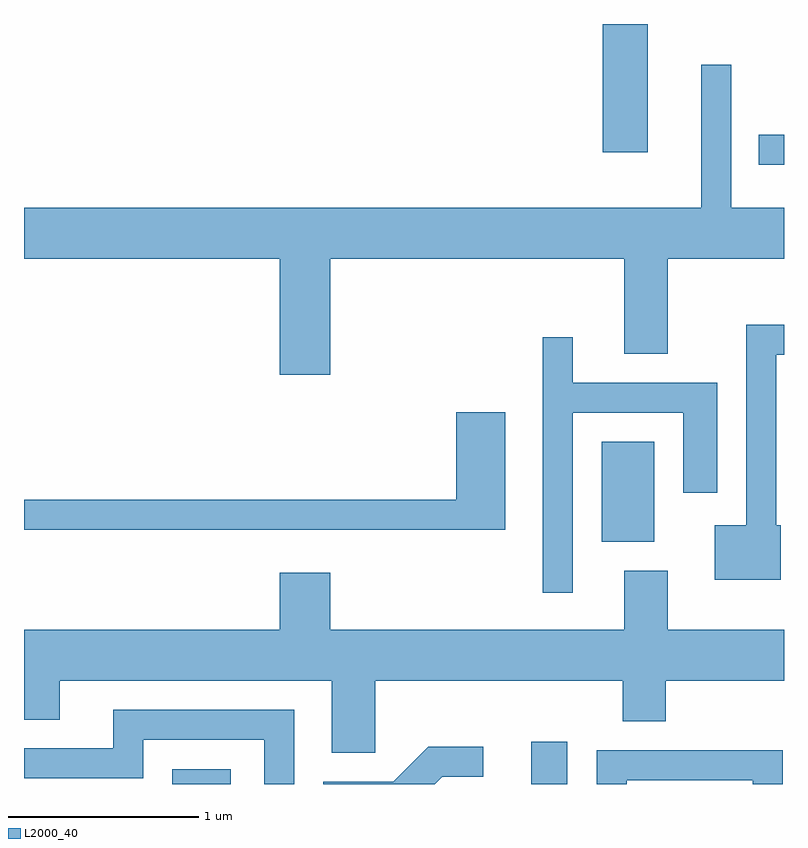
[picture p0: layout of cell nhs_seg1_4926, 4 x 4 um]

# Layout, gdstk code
import gdstk
lib = gdstk.Library(unit=1e-6, precision=1e-09)
def R(c, l, rs):  # rectangles x0, y0, x1, y1
    for r in rs: c.add(gdstk.rectangle(r[:2], r[2:], *l))
def P(c, l, *ps):  # polygons
    for p in ps: c.add(gdstk.Polygon(p, *l))
L2000_40 = (2000, 40)

nhs_seg1_4926 = lib.new_cell('nhs_seg1_4926')
R(nhs_seg1_4926, L2000_40, [(334.391,885.712,334.699,885.789), (336.281,885.712,336.469,885.934), (336.651,886.986,336.929,887.514), (337.478,888.971,337.611,889.129), (336.656,889.036,336.894,889.712)])
P(nhs_seg1_4926, L2000_40, [(333.611,888.476),(334.956,888.476),(334.956,887.866),(335.224,887.866),(335.224,888.476),(336.771,888.476),(336.771,887.976),(336.999,887.976),(336.999,888.476),(337.611,888.476),(337.611,888.744),(337.334,888.744),(337.334,889.498),(337.176,889.498),(337.176,888.744),(333.611,888.744)],
  [(337.594,887.074),(337.569,887.074),(337.569,887.971),(337.611,887.971),(337.611,888.129),(337.411,888.129),(337.411,887.074),(337.246,887.074),(337.246,886.786),(337.594,886.786)],
  [(336.499,887.666),(337.081,887.666),(337.081,887.246),(337.259,887.246),(337.259,887.824),(336.499,887.824),(336.499,888.063),(336.341,888.063),(336.341,886.718),(336.499,886.718)],
  [(336.144,887.669),(335.886,887.669),(335.886,887.209),(333.611,887.209),(333.611,887.051),(336.144,887.051)],
  [(335.459,886.256),(336.761,886.256),(336.761,886.041),(336.989,886.041),(336.989,886.256),(337.611,886.256),(337.611,886.524),(336.999,886.524),(336.999,886.834),(336.771,886.834),(336.771,886.524),(335.224,886.524),(335.224,886.824),(334.956,886.824),(334.956,886.524),(333.611,886.524),(333.611,886.051),(333.799,886.051),(333.799,886.256),(335.231,886.256),(335.231,885.876),(335.459,885.876)],
  [(335.034,886.104),(334.081,886.104),(334.081,885.899),(333.611,885.899),(333.611,885.741),(334.239,885.741),(334.239,885.946),(334.876,885.946),(334.876,885.712),(335.034,885.712)],
  [(335.812,885.751),(336.028,885.751),(336.028,885.909),(335.739,885.909),(335.554,885.724),(335.186,885.724),(335.186,885.712),(335.773,885.712)],
  [(336.784,885.731),(337.446,885.731),(337.446,885.712),(337.604,885.712),(337.604,885.889),(336.626,885.889),(336.626,885.712),(336.784,885.712)])

lib.write_gds('nhs_seg1_4926.gds')
